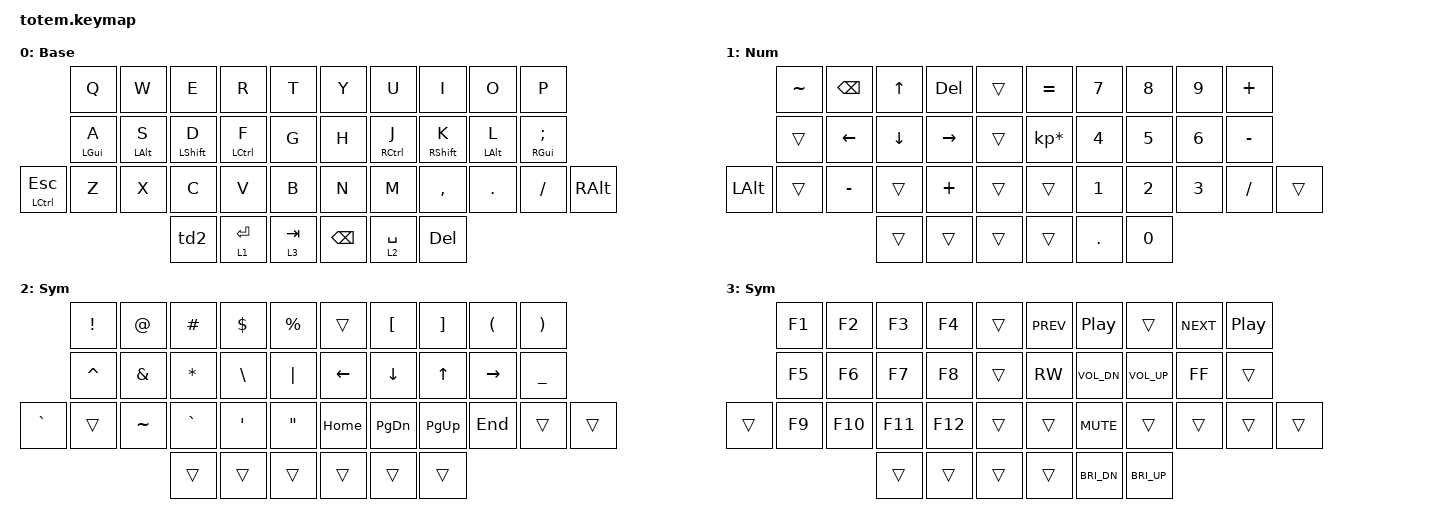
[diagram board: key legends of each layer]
//
//                                                        ▀▀▀▀▀     ▀▀▀▀▀          ▀▀█▀▀
//                                                        ▄▀▀▀▄  ▄  ▄▀▀▀▄  ▄  ▄▀▀▀▄  █  ▄▀▀▀▄
//                                                        █   █  █  █   █  █  █   █  █  █   █
//                                                         ▀▀▀   █   ▀▀▀   █   ▀▀▀   ▀   ▀▀▀
//                                                               █      ▄▄▄█▄▄▄    █   █  
//                                                               ▀      █  █  █     █▄█
//                                                             ▀▀▀▀▀    █  █  █      ▀
//                                                                      ▀  ▀  ▀
//
// ▄▄▄▄▄▄▄▄▄▄▄▄▄▄▄▄▄▄▄▄▄▄▄▄▄▄▄▄▄▄▄▄▄▄▄▄▄▄▄▄▄▄▄▄▄▄▄▄▄▄▄▄▄▄▄▄▄▄▄▄▄▄▄▄▄▄▄▄▄▄▄▄▄▄▄▄▄▄▄▄▄▄▄▄▄▄▄▄▄▄▄▄▄▄▄▄▄▄▄▄▄▄▄▄▄▄▄▄▄▄▄▄▄▄▄▄▄▄▄▄▄▄▄▄▄▄▄▄▄▄▄▄▄▄▄▄▄▄▄▄▄▄▄▄▄▄▄▄▄

#include <behaviors.dtsi>
#include <dt-bindings/zmk/keys.h>

#define Base        0
#define Num         1
#define Sym         2
#define Fun         3

&mt {
    tapping-term-ms = <170>;
    quick-tap-ms = <125>;
    require-prior-idle-ms = <100>;
    flavor = "tap-preferred";
};

&lt {
    tapping-term-ms = <240>;
    flavor = "balanced";
    quick-tap-ms = <150>;
};

&caps_word {
	continue-list = <UNDERSCORE BACKSPACE DELETE MINUS>;
};

/ {
    behaviors {
        hm: homerow_mods {
            compatible = "zmk,behavior-hold-tap";
            display-name = "HOMEROW_MODS";
            #binding-cells = <2>;
            flavor = "tap-preferred";
            tapping-term-ms = <200>;
            quick-tap-ms = <150>;
            require-prior-idle-ms = <125>;
            bindings = <&kp>, <&kp>;
        };
        td2: tap_dance_2 {
            compatible = "zmk,behavior-tap-dance";
            #binding-cells = <0>;
            tapping-term-ms = <150>;
            bindings = <&kp ESC>, <&caps_word>;
        };
    };

    combos { compatible = "zmk,combos"; };

    keymap {
        compatible = "zmk,keymap";

        Base {
            display-name = "Base";
            bindings = <
              &kp Q       &kp W       &kp E        &kp R       &kp T         &kp Y     &kp U        &kp I        &kp O       &kp P
              &hm LGUI A  &hm LALT S  &hm LSHFT D  &hm LCTRL F &kp G         &kp H     &hm RCTRL J  &hm RSHFT K  &hm LALT L  &hm RGUI SEMI
&mt LCTRL ESC &kp Z       &kp X       &kp C        &kp V       &kp B         &kp N     &kp M        &kp COMMA    &kp DOT     &kp FSLH      &kp RALT
                                      &td2         &lt 1 RET   &lt 3 TAB     &kp BSPC  &lt 2 SPACE  &kp DEL
            >;
        };
        Num {
            display-name = "Num";
            bindings = <
              &kp TILDE   &kp BSPC    &kp UP     &kp DEL    &trans        &kp EQUAL        &kp NUMBER_7  &kp NUMBER_8  &kp NUMBER_9  &kp PLUS
              &trans      &kp LEFT    &kp DOWN   &kp RIGHT  &trans        &kp KP_MULTIPLY  &kp NUMBER_4  &kp NUMBER_5  &kp NUMBER_6  &kp MINUS
&kp LEFT_ALT  &trans      &kp MINUS   &trans     &kp PLUS   &trans        &trans           &kp NUMBER_1  &kp NUMBER_2  &kp NUMBER_3  &kp SLASH  &trans
                                      &trans     &trans     &trans        &trans           &kp DOT       &kp NUMBER_0
            >;
        };
        Sym {
            display-name = "Sym";
            bindings = <
              &kp EXCL    &kp AT    &kp HASH  &kp DOLLAR     &kp PERCENT    &trans   &kp LBKT   &kp RBKT  &kp LPAR  &kp RPAR
              &kp CARET   &kp AMPS  &kp STAR  &kp BSLH       &kp PIPE       &kp LEFT &kp DOWN   &kp UP    &kp RIGHT &kp UNDERSCORE
&kp GRAVE     &trans      &kp TILDE &kp GRAVE &kp APOS       &kp DQT        &kp HOME &kp PG_DN  &kp PG_UP &kp END   &trans  &trans
                                    &trans    &trans         &trans         &trans   &trans     &trans
            >;
        };
        Fun {
            display-name = "Sym";
            bindings = <
              &kp F1    &kp F2   &kp F3    &kp F4    &trans         &kp C_PREV &kp C_PP     &trans       &kp C_NEXT &kp C_PP
              &kp F5    &kp F6   &kp F7    &kp F8    &trans         &kp C_RW   &kp C_VOL_DN &kp C_VOL_UP &kp C_FF   &trans
    &trans    &kp F9    &kp F10  &kp F11   &kp F12   &trans         &trans     &kp C_MUTE   &trans       &trans     &trans  &trans
                                 &trans    &trans    &trans         &trans     &kp C_BRI_DN &kp C_BRI_UP
            >;
        };
    };
};
